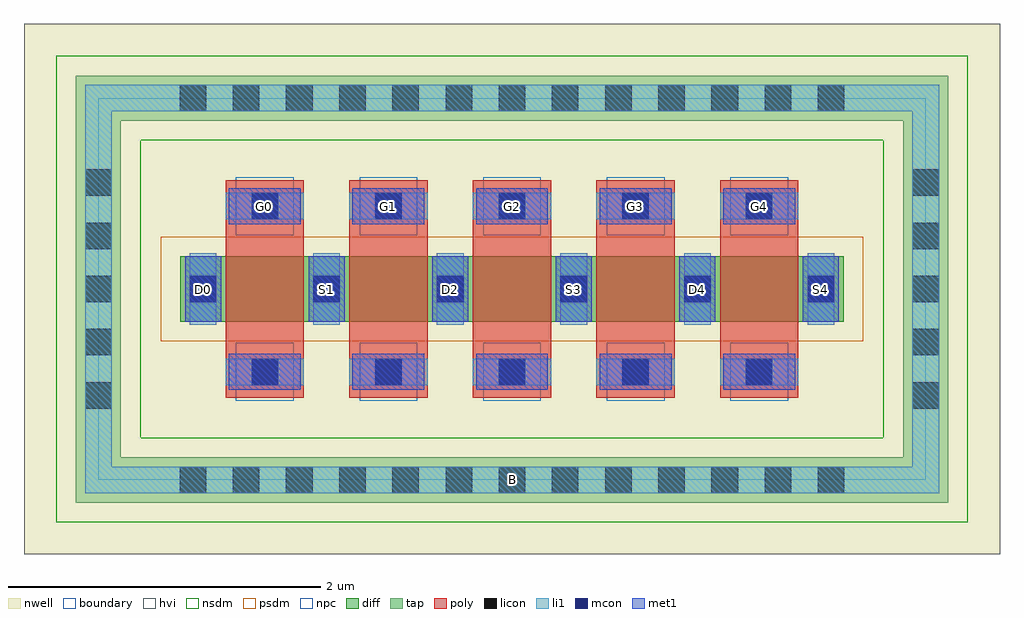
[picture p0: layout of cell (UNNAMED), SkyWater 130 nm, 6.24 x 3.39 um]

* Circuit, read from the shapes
.subckt (UNNAMED) B D0 D2 D4 G0 G1 G2 G3 G4 S1 S3 S4
XM1 S1 G0 D0 B sky130_fd_pr__pfet_g5v0d10v5 w=0.42 l=0.5
XM2 D2 G1 S1 B sky130_fd_pr__pfet_g5v0d10v5 w=0.42 l=0.5
XM3 S3 G2 D2 B sky130_fd_pr__pfet_g5v0d10v5 w=0.42 l=0.5
XM4 D4 G3 S3 B sky130_fd_pr__pfet_g5v0d10v5 w=0.42 l=0.5
XM5 S4 G4 D4 B sky130_fd_pr__pfet_g5v0d10v5 w=0.42 l=0.5
.ends

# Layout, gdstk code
import gdstk
lib = gdstk.Library(unit=1e-6, precision=1e-09)
def R(c, l, rs):  # rectangles x0, y0, x1, y1
    for r in rs: c.add(gdstk.rectangle(r[:2], r[2:], *l))
def A(c, l, x, y, w, h, nx, ny, dx, dy):  # array of equal rectangles
    R(c, l, [(x+i*dx, y+j*dy, x+i*dx+w, y+j*dy+h) for i in range(nx) for j in range(ny)])
nwell = (64, 20)
diff = (65, 20)
tap = (65, 44)
poly = (66, 20)
licon = (66, 44)
li1 = (67, 20)
mcon = (67, 44)
met1 = (68, 20)
hvi = (75, 20)
nsdm = (93, 44)
psdm = (94, 20)
npc = (95, 20)
boundary = (235, 4)

c__unnamed_ = lib.new_cell('(UNNAMED)')
R(c__unnamed_, nwell, [(-3.12,-1.695,3.12,1.695)])
R(c__unnamed_, diff, [(-2.12,-0.21,2.12,0.21)])
R(c__unnamed_, tap, [(-2.79,-1.365,2.79,-1.075), (-2.79,-1.075,-2.5,1.075), (2.5,-1.075,2.79,1.075), (-2.79,1.075,2.79,1.365)])
A(c__unnamed_, poly, -1.83, -0.695, 0.5, 1.39, 5, 1, 0.79, 0)
A(c__unnamed_, licon, -2.125, -1.305, 0.17, 0.17, 13, 2, 0.34, 2.44)
A(c__unnamed_, licon, -2.73, -0.765, 0.17, 0.17, 1, 5, 0, 0.34)
A(c__unnamed_, licon, 2.56, -0.765, 0.17, 0.17, 1, 5, 0, 0.34)
A(c__unnamed_, licon, -1.665, -0.615, 0.17, 0.17, 5, 2, 0.79, 1.06)
A(c__unnamed_, licon, -2.06, -0.085, 0.17, 0.17, 6, 1, 0.79, 0)
A(c__unnamed_, li1, -1.83, -0.615, 0.5, 0.17, 5, 2, 0.79, 1.06)
A(c__unnamed_, li1, -2.06, -0.23, 0.17, 0.46, 6, 1, 0.79, 0)
R(c__unnamed_, li1, [(-2.73,-1.305,2.73,-1.135), (-2.73,-1.135,-2.56,1.135), (2.56,-1.135,2.73,1.135), (-2.73,1.135,2.73,1.305)])
A(c__unnamed_, mcon, -1.665, -0.615, 0.17, 0.17, 5, 2, 0.79, 1.06)
A(c__unnamed_, mcon, -2.06, -0.085, 0.17, 0.17, 6, 1, 0.79, 0)
A(c__unnamed_, met1, -1.81, -0.645, 0.46, 0.23, 5, 2, 0.79, 1.06)
A(c__unnamed_, met1, -2.09, -0.21, 0.23, 0.42, 6, 1, 0.79, 0)
R(c__unnamed_, hvi, [(-3.12,-1.695,3.12,1.695)])
R(c__unnamed_, nsdm, [(-2.915,-1.49,2.915,-0.95), (-2.915,-0.95,-2.375,0.95), (2.375,-0.95,2.915,0.95), (-2.915,0.95,2.915,1.49)])
R(c__unnamed_, psdm, [(-2.245,-0.335,2.245,0.335)])
A(c__unnamed_, npc, -1.765, -0.715, 0.37, 0.37, 5, 2, 0.79, 1.06)
R(c__unnamed_, boundary, [(-2.645,-1.22,2.645,1.22)])
c__unnamed_.add(gdstk.Label('B', (0,-1.22), layer=67, texttype=5))
c__unnamed_.add(gdstk.Label('D0', (-1.975,0), layer=67, texttype=5))
c__unnamed_.add(gdstk.Label('G0', (-1.58,0.53), layer=67, texttype=5))
c__unnamed_.add(gdstk.Label('S1', (-1.185,0), layer=67, texttype=5))
c__unnamed_.add(gdstk.Label('G1', (-0.79,0.53), layer=67, texttype=5))
c__unnamed_.add(gdstk.Label('D2', (-0.395,0), layer=67, texttype=5))
c__unnamed_.add(gdstk.Label('G2', (0,0.53), layer=67, texttype=5))
c__unnamed_.add(gdstk.Label('S3', (0.395,0), layer=67, texttype=5))
c__unnamed_.add(gdstk.Label('G3', (0.79,0.53), layer=67, texttype=5))
c__unnamed_.add(gdstk.Label('D4', (1.185,0), layer=67, texttype=5))
c__unnamed_.add(gdstk.Label('S4', (1.975,0), layer=67, texttype=5))
c__unnamed_.add(gdstk.Label('G4', (1.58,0.53), layer=67, texttype=5))

lib.write_gds('_UNNAMED_.gds')
